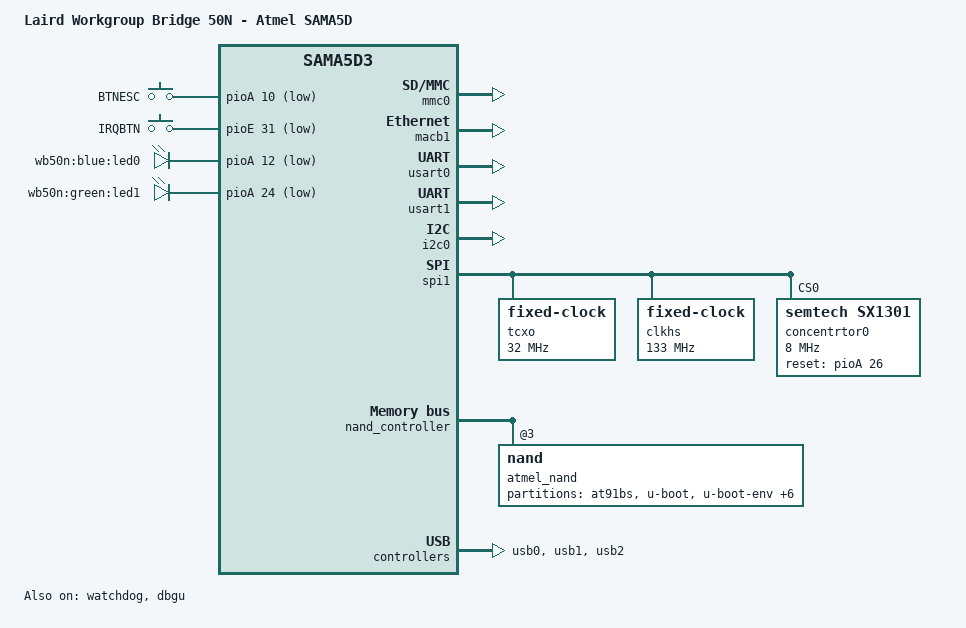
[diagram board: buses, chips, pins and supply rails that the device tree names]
// SPDX-License-Identifier: GPL-2.0
/*
 * at91-wb50n.dts - Device Tree file for wb50n evaluation board
 *
 *  Copyright (C) 2018 Laird
 *
 */

/dts-v1/;
#include "at91-wb50n.dtsi"

/ {
	model = "Laird Workgroup Bridge 50N - Atmel SAMA5D";
	compatible = "laird,wb50n", "atmel,sama5d31", "atmel,sama5d3", "atmel,sama5";

	gpio_keys {
		compatible = "gpio-keys";
		#address-cells = <1>;
		#size-cells = <0>;

		btn0@10 {
			reg = <10>;
			label = "BTNESC";
			linux,code = <1>; /* ESC button */
			gpios = <&pioA 10 GPIO_ACTIVE_LOW>;
			gpio-key,wakeup = <1>;
		};

		irqbtn@31 {
			reg = <31>;
			label = "IRQBTN";
			linux,code = <99>; /* SysReq button */
			gpios = <&pioE 31 GPIO_ACTIVE_LOW>;
			gpio-key,wakeup = <1>;
		};
	};

	leds {
		compatible = "gpio-leds";

		led0 {
			label = "wb50n:blue:led0";
			gpios = <&pioA 12 GPIO_ACTIVE_LOW>;
			default-state = "off";
		};

		led1 {
			label = "wb50n:green:led1";
			gpios = <&pioA 24 GPIO_ACTIVE_LOW>;
			default-state = "off";
		};
	};
};

&watchdog {
	status = "okay";
};

&mmc0 {
	status = "okay";
};

&macb1 {
	status = "okay";
};

&dbgu {
	status = "okay";
};

/* On BB40 this port is labeled UART1 */
&usart0 {
	status = "okay";
};

/* On BB40 this port is labeled UART0 */
&usart1 {
	status = "okay";
};

&i2c0 {
	status = "okay";
};

&spi1 {
	status = "okay";

	tcxo: dummy32m {
            compatible = "fixed-clock";
            #clock-cells = <0>;
            clock-frequency = <32000000>;
            clock-output-names = "tcxo";
        };

        clkhs: dummy133m {
            compatible = "fixed-clock";
            #clock-cells = <0>;
            clock-frequency = <133000000>;
            clock-output-names = "clkhs";
        };

	concentrtor0: lora@0 {
		compatible = "semtech,sx1301";
		reg = <0>;
		spi-max-frequency = <8000000>;
		reset-gpios = <&pioA 26 GPIO_ACTIVE_HIGH>;
		clocks = <&radio1>, <&clkhs>;
		clock-names = "clk32m", "clkhs";

		power-lut =   [ FD 00 00 03 08
				00 00 00 03 09
				03 00 00 03 0C
				04 00 00 03 0D
				06 00 01 03 08
				09 00 01 03 09
				0A 00 01 03 0A
				0C 00 01 03 0B
				0D 00 01 03 0C
				0E 00 01 03 0D
				10 00 01 03 0F
				13 00 02 03 0A
				15 00 02 03 0B
				16 00 02 03 0C
				18 00 02 03 0D
				19 00 02 03 0E ];

		radio-spi {
			#address-cells = <1>;
			#size-cells = <0>;

			radio0: radio@0 {
				compatible = "semtech,sx1257";
				spi-max-frequency = <8000000>;
				reg = <0>;
				clocks = <&tcxo>;
				clock-names = "fosxc";
			};

			radio1: radio@1 {
				compatible = "semtech,sx1257";
				spi-max-frequency = <8000000>;
				reg = <1>;
				#clock-cells = <0>;
				clocks = <&tcxo>;
				clock-names = "fosxc";
				clock-output-names = "clk32m";
			};
		};
	};
};

&nand_controller {
	status = "okay";

	nand: nand@3 {
		reg = <0x3 0x0 0x2>;
		atmel,rb = <0>;
		nand-bus-width = <8>;
		nand-ecc-mode = "hw";
		nand-ecc-strength = <8>;
		nand-ecc-step-size = <512>;
		nand-on-flash-bbt;
		label = "atmel_nand";

		partitions {
			compatible = "fixed-partitions";
			#address-cells = <1>;
			#size-cells = <1>;

			at91bootstrap@0 {
				label = "at91bs";
				reg = <0x0 0x20000>;
			};

			uboot@20000 {
				label = "u-boot";
				reg = <0x20000 0x80000>;
			};

			ubootenv@a0000 {
				label = "u-boot-env";
				reg = <0xa0000 0x20000>;
			};

			ubootenv@c0000 {
				label = "u-boot-env2";
				reg = <0xc0000 0x20000>;
			};

			kernel-a@e0000 {
				label = "kernel-a";
				reg = <0xe0000 0x500000>;
			};

			kernel-b@5e0000 {
				label = "kernel-b";
				reg = <0x5e0000 0x500000>;
			};

			rootfs-a@ae0000 {
				label = "rootfs-a";
				reg = <0xae0000 0x3000000>;
			};

			rootfs-b@3ae0000 {
				label = "rootfs-b";
				reg = <0x3ae0000 0x3000000>;
			};

			user@6ae0000 {
				label = "user";
				reg = <0x6ae0000 0x14e0000>;
			};
		};
	};
};

&usb0 {
	status = "okay";
};

&usb1 {
	status = "okay";
};

&usb2 {
	status = "okay";
};

